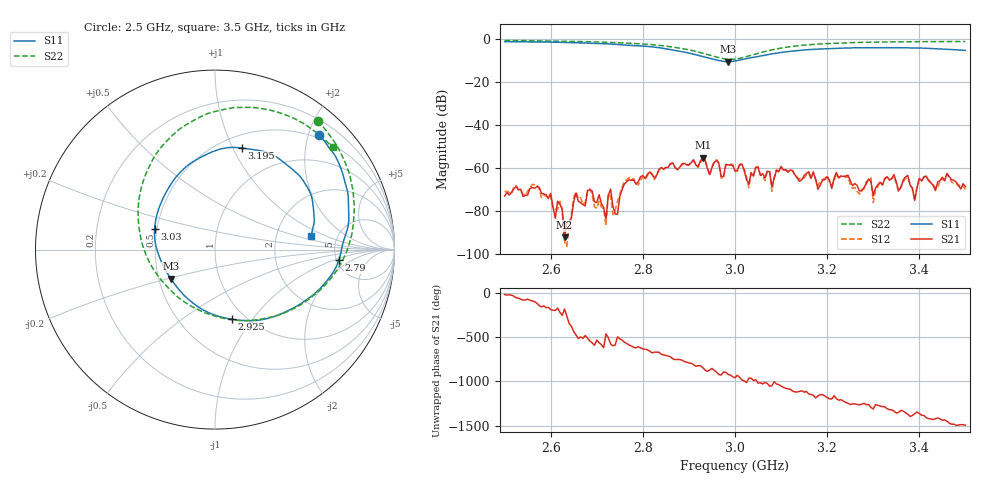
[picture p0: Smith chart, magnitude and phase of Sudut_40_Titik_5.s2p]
# Hz S RI R 50
! CMT, C1220, 16058040, 17.2.0/1
! Date: 15/08/2018 10:23:09
! Data: Format (Calibration Info)
! Freq  S11: Re/Im (F2)  S21: Re/Im (F2)  S12: Re/Im (F2)  S22: Re/Im (F2)
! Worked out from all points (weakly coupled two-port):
!   201 points, 2.5 GHz to 3.5 GHz, reference 50 ohm
!   highest |S21| = -55.22 dB at 2.93 GHz (marker M1); lowest = -92.3 dB at 2.63 GHz (marker M2)
!   lowest |S11| = -10.6 dB at 2.985 GHz (marker M3), VSWR 1.84, Z = 28.9 - j10.2 ohm
!   |S11| at or under -10 dB: 2.963 GHz to 3.007 GHz (43.39 MHz wide, 1.45 % of centre)
!   |S22| runs from -9.5 to -0.7 dB; largest |S21 - S12| = 0.00016
!   S11 on the Smith chart (normalised r, x): 2.5 GHz: 0.44, +2.19; 2.79 GHz: 5.23, -1.18; 2.925 GHz: 0.87, -0.80; 3.03 GHz: 0.48, +0.13; 3.195 GHz: 0.63, +1.09; 3.5 GHz: 3.19, +0.66
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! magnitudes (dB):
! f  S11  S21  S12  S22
! 2.5 GHz  -1.3  -73.1  -71.1  -0.7
! 2.63 GHz  -1.7  -92.3  -94.1  -1.1
! 2.67 GHz  -1.9  -77.0  -76.9  -1.3
! 2.72 GHz  -2.3  -83.7  -86.9  -1.6
! 2.73 GHz  -2.4  -69.8  -73.3  -1.6
! 2.745 GHz  -2.6  -81.6  -75.5  -1.8
! 2.79 GHz  -3.2  -66.5  -67.9  -2.2
! 2.835 GHz  -4.1  -60.7  -61.2  -3.0
! 2.925 GHz  -8.0  -56.7  -57.5  -6.4
! 2.93 GHz  -8.2  -55.2  -55.6  -6.6
! 2.985 GHz  -10.6  -58.6  -58.0  -9.4
! 3 GHz  -10.3  -61.3  -61.5  -9.4
! 3.03 GHz  -9.0  -67.5  -69.2  -8.0
! 3.045 GHz  -8.4  -59.8  -59.7  -7.0
! 3.08 GHz  -7.0  -68.7  -70.9  -5.1
! 3.1 GHz  -6.3  -59.5  -59.4  -4.3
! 3.17 GHz  -4.9  -62.0  -61.9  -2.6
! 3.195 GHz  -4.7  -65.5  -64.8  -2.2
! 3.295 GHz  -4.2  -66.4  -64.8  -1.5
! 3.3 GHz  -4.2  -72.8  -76.1  -1.5
! 3.335 GHz  -4.1  -65.5  -65.7  -1.4
! 3.5 GHz  -5.4  -68.7  -70.0  -1.2
